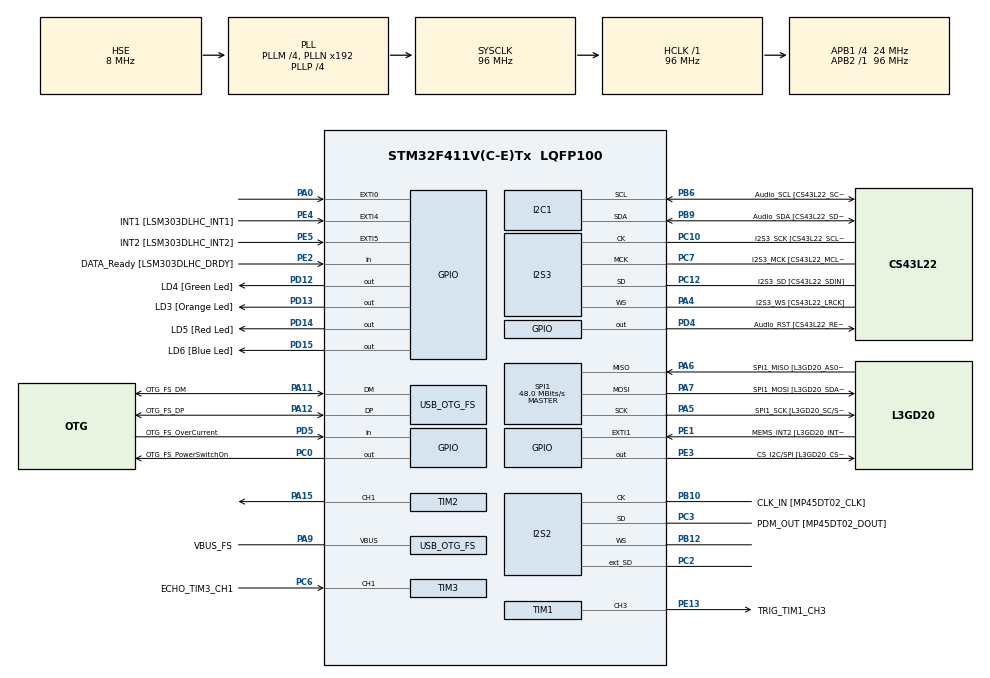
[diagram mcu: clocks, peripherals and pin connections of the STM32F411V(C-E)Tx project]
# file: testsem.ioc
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I2S2.AudioFreq=I2S_AUDIOFREQ_96K
I2S2.ErrorAudioFreq=0.15 %
I2S2.FullDuplexMode=I2S_FULLDUPLEXMODE_ENABLE
I2S2.Instance=SPI$Index
I2S2.RealAudioFreq=96.153 KHz
I2S2.VirtualMode=I2S_MODE_MASTER
I2S3.AudioFreq=I2S_AUDIOFREQ_96K
I2S3.ErrorAudioFreq=-6.99 %
I2S3.FullDuplexMode=I2S_FULLDUPLEXMODE_DISABLE
I2S3.Instance=SPI$Index
I2S3.RealAudioFreq=89.285 KHz
I2S3.VirtualMode=I2S_MODE_MASTER
Mcu.Family=STM32F4
Mcu.Name=STM32F411V(C-E)Tx
Mcu.Package=LQFP100
Mcu.UserConstants=FREQ_DIVIDER,15;TOO_FAR_TIMEOUT,38000
NVIC.OTG_FS_IRQn=true\:0\:0\:false\:false\:true\:true
NVIC.PriorityGroup=NVIC_PRIORITYGROUP_0
NVIC.TIM3_IRQn=true\:0\:0\:false\:false\:true\:true
PA0-WKUP.GPIO_ModeDefaultEXTI=GPIO_MODE_EVT_RISING
PA0-WKUP.Signal=GPXTI0
PA10.GPIO_Label=OTG_FS_ID
PA10.Signal=USB_OTG_FS_ID
PA11.GPIO_Label=OTG_FS_DM
PA11.Mode=Host_Only
PA11.Signal=USB_OTG_FS_DM
PA12.GPIO_Label=OTG_FS_DP
PA12.Mode=Host_Only
PA12.Signal=USB_OTG_FS_DP
PA13.GPIO_Label=SWDIO
PA13.Mode=Serial_Wire
PA13.Signal=SYS_JTMS-SWDIO
PA14.GPIO_Label=SWCLK
PA14.Mode=Serial_Wire
PA14.Signal=SYS_JTCK-SWCLK
PA15.Signal=S_TIM2_CH1_ETR
PA4.GPIO_Label=I2S3_WS [CS43L22_LRCK]
PA4.GPIO_Mode=GPIO_MODE_AF_PP
PA4.GPIO_PuPd=GPIO_NOPULL
PA4.GPIO_Speed=GPIO_SPEED_FREQ_LOW
PA4.Mode=Half_Duplex_Master
PA4.Signal=I2S3_WS
PA5.GPIO_Label=SPI1_SCK [L3GD20_SC/SPC]
PA5.Mode=Full_Duplex_Master
PA5.Signal=SPI1_SCK
PA6.GPIO_Label=SPI1_MISO [L3GD20_AS0/SDO]
PA6.Mode=Full_Duplex_Master
PA6.Signal=SPI1_MISO
PA7.GPIO_Label=SPI1_MOSI [L3GD20_SDA/SDI/SDO]
PA7.Mode=Full_Duplex_Master
PA7.Signal=SPI1_MOSI
PA9.GPIO_Label=VBUS_FS
PA9.Mode=Activate_VBUS
PA9.Signal=USB_OTG_FS_VBUS
PB10.GPIO_Label=CLK_IN [MP45DT02_CLK]
PB10.Mode=Full_Duplex_Master
PB10.Signal=I2S2_CK
PB12.Mode=Full_Duplex_Master
PB12.Signal=I2S2_WS
PB3.GPIO_Label=SWO
PB3.Signal=SYS_JTDO-SWO
PB6.GPIO_Label=Audio_SCL [CS43L22_SCL]
PB6.GPIO_Mode=GPIO_MODE_AF_OD
PB6.GPIO_PuPd=GPIO_NOPULL
PB6.GPIO_Speed=GPIO_SPEED_FREQ_LOW
PB6.Mode=I2C
PB6.Signal=I2C1_SCL
PB9.GPIO_Label=Audio_SDA [CS43L22_SDA]
PB9.GPIO_Mode=GPIO_MODE_AF_OD
PB9.GPIO_PuPd=GPIO_NOPULL
PB9.GPIO_Speed=GPIO_SPEED_FREQ_LOW
PB9.Mode=I2C
PB9.Signal=I2C1_SDA
PC0.GPIO_Label=OTG_FS_PowerSwitchOn
PC0.PinState=GPIO_PIN_SET
PC0.Signal=GPIO_Output
PC10.GPIO_Label=I2S3_SCK [CS43L22_SCLK]
PC10.GPIO_Mode=GPIO_MODE_AF_PP
PC10.GPIO_PuPd=GPIO_NOPULL
PC10.GPIO_Speed=GPIO_SPEED_FREQ_LOW
PC10.Mode=Half_Duplex_Master
PC10.Signal=I2S3_CK
PC12.GPIO_Label=I2S3_SD [CS43L22_SDIN]
PC12.GPIO_Mode=GPIO_MODE_AF_PP
PC12.GPIO_PuPd=GPIO_NOPULL
PC12.GPIO_Speed=GPIO_SPEED_FREQ_LOW
PC12.Mode=Half_Duplex_Master
PC12.Signal=I2S3_SD
PC14-OSC32_IN.GPIO_Label=PC14-OSC32_IN
PC14-OSC32_IN.Mode=LSE-External-Oscillator
PC14-OSC32_IN.Signal=RCC_OSC32_IN
PC15-OSC32_OUT.GPIO_Label=PC15-OSC32_OUT
PC15-OSC32_OUT.Mode=LSE-External-Oscillator
PC15-OSC32_OUT.Signal=RCC_OSC32_OUT
PC2.Mode=Full_Duplex_Master
PC2.Signal=I2S2_ext_SD
PC3.GPIO_Label=PDM_OUT [MP45DT02_DOUT]
PC3.Mode=Full_Duplex_Master
PC3.Signal=I2S2_SD
PC6.GPIO_Label=ECHO_TIM3_CH1
PC6.Signal=S_TIM3_CH1
PC7.GPIO_Label=I2S3_MCK [CS43L22_MCLK]
PC7.GPIO_Mode=GPIO_MODE_AF_PP
PC7.GPIO_PuPd=GPIO_NOPULL
PC7.GPIO_Speed=GPIO_SPEED_FREQ_LOW
PC7.Mode=Master_Clock_Activated
PC7.Signal=I2S3_MCK
PD12.GPIO_Label=LD4 [Green Led]
PD12.GPIO_PuPd=GPIO_NOPULL
PD12.GPIO_Speed=GPIO_SPEED_FREQ_LOW
PD12.Signal=GPIO_Output
PD13.GPIO_Label=LD3 [Orange Led]
PD13.GPIO_PuPd=GPIO_NOPULL
PD13.GPIO_Speed=GPIO_SPEED_FREQ_LOW
PD13.Signal=GPIO_Output
PD14.GPIO_Label=LD5 [Red Led]
PD14.GPIO_PuPd=GPIO_NOPULL
PD14.GPIO_Speed=GPIO_SPEED_FREQ_LOW
PD14.Signal=GPIO_Output
PD15.GPIO_Label=LD6 [Blue Led]
PD15.GPIO_PuPd=GPIO_NOPULL
PD15.GPIO_Speed=GPIO_SPEED_FREQ_LOW
PD15.Signal=GPIO_Output
PD4.GPIO_Label=Audio_RST [CS43L22_RESET]
PD4.Signal=GPIO_Output
PD5.GPIO_Label=OTG_FS_OverCurrent
PD5.Signal=GPIO_Input
PE1.GPIO_Label=MEMS_INT2 [L3GD20_INT2]
PE1.GPIO_ModeDefaultEXTI=GPIO_MODE_EVT_RISING
PE1.Signal=GPXTI1
PE13.GPIO_Label=TRIG_TIM1_CH3
PE13.Signal=S_TIM1_CH3
PE2.GPIO_Label=DATA_Ready [LSM303DLHC_DRDY]
PE2.Signal=GPIO_Input
PE3.GPIO_Label=CS_I2C/SPI [L3GD20_CS_I2C/SPI]
PE3.Signal=GPIO_Output
PE4.GPIO_Label=INT1 [LSM303DLHC_INT1]
PE4.GPIO_ModeDefaultEXTI=GPIO_MODE_EVT_RISING
PE4.Signal=GPXTI4
PE5.GPIO_Label=INT2 [LSM303DLHC_INT2]
PE5.GPIO_ModeDefaultEXTI=GPIO_MODE_EVT_RISING
PE5.Signal=GPXTI5
PH0\ -\ OSC_IN.GPIO_Label=PH0-OSC_IN
PH0\ -\ OSC_IN.Mode=HSE-External-Oscillator
PH0\ -\ OSC_IN.Signal=RCC_OSC_IN
PH1\ -\ OSC_OUT.GPIO_Label=PH1-OSC_OUT
PH1\ -\ OSC_OUT.Mode=HSE-External-Oscillator
PH1\ -\ OSC_OUT.Signal=RCC_OSC_OUT
ProjectManager.HeapSize=0x200
ProjectManager.StackSize=0x400
ProjectManager.TargetToolchain=SW4STM32
RCC.48MHZClocksFreq_Value=48000000
RCC.AHBFreq_Value=96000000
RCC.APB1CLKDivider=RCC_HCLK_DIV4
RCC.APB1Freq_Value=24000000
RCC.APB1TimFreq_Value=48000000
RCC.APB2Freq_Value=96000000
RCC.APB2TimFreq_Value=96000000
RCC.CortexFreq_Value=96000000
RCC.HCLKFreq_Value=96000000
RCC.HSE_VALUE=8000000
RCC.HSI_VALUE=16000000
RCC.PLLI2SM=5
RCC.PLLI2SN=200
RCC.PLLM=4
RCC.PLLP=RCC_PLLP_DIV4
RCC.PLLQ=8
RCC.SYSCLKFreq_VALUE=96000000
RCC.SYSCLKSource=RCC_SYSCLKSOURCE_PLLCLK
RCC.VCOOutputFreq_Value=384000000
SH.S_TIM1_CH3.0=TIM1_CH3,PWM Generation3 CH3
SH.S_TIM2_CH1_ETR.0=TIM2_CH1,PWM Generation1 CH1
SH.S_TIM3_CH1.0=TIM3_CH1,TriggerSource_TI1FP1
SH.S_TIM3_CH1.1=TIM3_CH1,Input_Capture1_from_TI1
SH.S_TIM3_CH1.2=TIM3_CH1,Input_Capture2_from_TI1
SPI1.BaudRatePrescaler=SPI_BAUDRATEPRESCALER_2
SPI1.CalculateBaudRate=48.0 MBits/s
SPI1.Direction=SPI_DIRECTION_2LINES
SPI1.Mode=SPI_MODE_MASTER
SPI1.VirtualType=VM_MASTER
TIM1.Channel-PWM\ Generation3\ CH3=TIM_CHANNEL_3
TIM1.OCMode_PWM-PWM\ Generation3\ CH3=TIM_OCMODE_PWM2
TIM1.Period=15
TIM1.Prescaler=FREQ_DIVIDER
TIM1.Pulse-PWM\ Generation3\ CH3=2
TIM2.Channel-PWM\ Generation1\ CH1=TIM_CHANNEL_1
TIM2.Period=TOO_FAR_TIMEOUT
TIM3.Channel-Input_Capture1_from_TI1=TIM_CHANNEL_1
TIM3.Channel-Input_Capture2_from_TI1=TIM_CHANNEL_2
TIM3.ICFilter_CH1=15
TIM3.ICPolarity_CH2=TIM_INPUTCHANNELPOLARITY_FALLING
TIM3.Period=65535
TIM3.Prescaler=FREQ_DIVIDER
USB_HOST.BSP.number=1
USB_HOST.USBH_HandleTypeDef=hUsbHostFS
USB_HOST.VirtualModeFS=Cdc
USB_HOST0.BSP.STBoard=false
USB_HOST0.BSP.api=Unknown
USB_HOST0.BSP.i2caddr=0
USB_HOST0.BSP.i2creg=0
USB_HOST0.BSP.instance=PC0
USB_HOST0.BSP.ip=GPIO
USB_HOST0.BSP.mode=Output
USB_HOST0.BSP.name=Drive_VBUS_FS
USB_HOST0.BSP.solution=PC0
USB_OTG_FS.VirtualMode=Host_Only
USB_OTG_FS.phy_itface=HCD_PHY_EMBEDDED
VP_TIM1_VS_ClockSourceINT.Mode=Internal
VP_TIM1_VS_OPM.Mode=OPM_bit
VP_TIM2_VS_ClockSourceINT.Mode=Internal
VP_TIM3_VS_ClockSourceINT.Mode=Internal
VP_TIM3_VS_ControllerModeReset.Mode=Reset Mode
VP_USB_HOST_VS_USB_HOST_CDC_FS.Mode=CDC_FS
board=32F411EDISCOVERY

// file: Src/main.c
/**
  ******************************************************************************
  * @file           : main.c
  * @brief          : Main program body
  ******************************************************************************
  * This notice applies to any and all portions of this file
  * that are not between comment pairs USER CODE BEGIN and
  * USER CODE END. Other portions of this file, whether
  * inserted by the user or by software development tools
  * are owned by their respective copyright owners.
  *
  * Copyright (c) 2018 STMicroelectronics International N.V.
  * All rights reserved.
  *
  * Redistribution and use in source and binary forms, with or without
  * modification, are permitted, provided that the following conditions are met:
  *
  * 1. Redistribution of source code must retain the above copyright notice,
  *    this list of conditions and the following disclaimer.
  * 2. Redistributions in binary form must reproduce the above copyright notice,
  *    this list of conditions and the following disclaimer in the documentation
  *    and/or other materials provided with the distribution.
  * 3. Neither the name of STMicroelectronics nor the names of other
  *    contributors to this software may be used to endorse or promote products
  *    derived from this software without specific written permission.
  * 4. This software, including modifications and/or derivative works of this
  *    software, must execute solely and exclusively on microcontroller or
  *    microprocessor devices manufactured by or for STMicroelectronics.
  * 5. Redistribution and use of this software other than as permitted under
  *    this license is void and will automatically terminate your rights under
  *    this license.
  *
  * THIS SOFTWARE IS PROVIDED BY STMICROELECTRONICS AND CONTRIBUTORS "AS IS"
  * AND ANY EXPRESS, IMPLIED OR STATUTORY WARRANTIES, INCLUDING, BUT NOT
  * LIMITED TO, THE IMPLIED WARRANTIES OF MERCHANTABILITY, FITNESS FOR A
  * PARTICULAR PURPOSE AND NON-INFRINGEMENT OF THIRD PARTY INTELLECTUAL PROPERTY
  * RIGHTS ARE DISCLAIMED TO THE FULLEST EXTENT PERMITTED BY LAW. IN NO EVENT
  * SHALL STMICROELECTRONICS OR CONTRIBUTORS BE LIABLE FOR ANY DIRECT, INDIRECT,
  * INCIDENTAL, SPECIAL, EXEMPLARY, OR CONSEQUENTIAL DAMAGES (INCLUDING, BUT NOT
  * LIMITED TO, PROCUREMENT OF SUBSTITUTE GOODS OR SERVICES; LOSS OF USE, DATA,
  * OR PROFITS; OR BUSINESS INTERRUPTION) HOWEVER CAUSED AND ON ANY THEORY OF
  * LIABILITY, WHETHER IN CONTRACT, STRICT LIABILITY, OR TORT (INCLUDING
  * NEGLIGENCE OR OTHERWISE) ARISING IN ANY WAY OUT OF THE USE OF THIS SOFTWARE,
  * EVEN IF ADVISED OF THE POSSIBILITY OF SUCH DAMAGE.
  *
  ******************************************************************************
  */
#include "main.h"
#include "stm32f4xx_hal.h"
#include "i2c.h"
#include "i2s.h"
#include "spi.h"
#include "tim.h"
#include "usb_host.h"
#include "gpio.h"

/* USER CODE BEGIN PV */
/* Private variables ---------------------------------------------------------*/

/* USER CODE END PV */

void SystemClock_Config(void);
void MX_USB_HOST_Process(void);

/* USER CODE BEGIN PFP */
/* Private function prototypes -----------------------------------------------*/

/* USER CODE END PFP */

/* USER CODE BEGIN 0 */
extern void initialise_monitor_handles(void);
typedef enum state_t{IDLE_S, TRIGGERING_S, WAITING_FOR_ECHO_START_S, WAITING_FOR_ECHO_STOP_S,
 TRIG_NOT_WENT_LOW_S, ECHO_TIMEOUT_S, ECHO_NOT_WENT_LOW_S, READING_DATA_S, ERROR_S} state_t;

volatile state_t state = IDLE_S;
volatile uint32_t measured_time;
inline void set_LED_lum(uint16_t arg)
{
 // TIM2->CCR1 = TIM2->ARR - arg;
 int lm = -6*arg + TIM2->ARR;
 __HAL_TIM_SET_COMPARE(&htim2, TIM_CHANNEL_1, (lm>=0 ? lm : 0) );
}
void on_error(const char* text, int hang)
{
 HAL_GPIO_WritePin(GPIOC, GPIO_PIN_8, GPIO_PIN_SET);
 puts(text);
 if(hang)
 {
  while(1);
 }
 else {
  // resetTimer();
  state = IDLE_S;
 }
}
void HAL_TIM_PeriodElapsedCallback(TIM_HandleTypeDef *htim)
{
 if( htim->Instance == TIM3 )
 {
  if(state == WAITING_FOR_ECHO_START_S)
  {
   state = ECHO_TIMEOUT_S;
  }
  if(state == WAITING_FOR_ECHO_STOP_S)
  {
   state = ECHO_NOT_WENT_LOW_S;
  }
 }
}
void HAL_TIM_IC_CaptureCallback(TIM_HandleTypeDef *htim)
{
 if( htim->Instance == TIM3  )
 {
  if( htim->Channel == HAL_TIM_ACTIVE_CHANNEL_1 )
  {
   __HAL_TIM_CLEAR_FLAG(htim, TIM_FLAG_UPDATE);
   if(state == WAITING_FOR_ECHO_START_S)
    state = WAITING_FOR_ECHO_STOP_S;
  }
  if( htim->Channel == HAL_TIM_ACTIVE_CHANNEL_2 )
  {
   if( state == WAITING_FOR_ECHO_STOP_S )
   {
    measured_time = HAL_TIM_ReadCapturedValue( htim, TIM_CHANNEL_2);
    //measured_time = TIM3->CCR2;
    state = READING_DATA_S;
   }
  }
 }
}
/* USER CODE END 0 */

int main(void)
{
  /* USER CODE BEGIN 1 */
	initialise_monitor_handles();
  /* USER CODE END 1 */

  /* MCU Configuration----------------------------------------------------------*/

  /* Reset of all peripherals, Initializes the Flash interface and the Systick. */
  HAL_Init();

  /* Configure the system clock */
  SystemClock_Config();

  /* Initialize all configured peripherals */
  MX_GPIO_Init();
  MX_I2C1_Init();
  MX_I2S2_Init();
  MX_I2S3_Init();
  MX_SPI1_Init();
  MX_USB_HOST_Init();
  MX_TIM1_Init();
  MX_TIM2_Init();
  MX_TIM3_Init();
  /* USER CODE BEGIN 2 */
  if ( HAL_GPIO_ReadPin(ECHO_TIM3_CH1_GPIO_Port, GPIO_PIN_6) == GPIO_PIN_SET ) {
    on_error("Error -- Echo line is high, though no impulse was given.",
      1);
   }
   puts("Starting");
  printf("Hello world\n");

  HAL_TIM_IC_Start_IT(&htim3, TIM_CHANNEL_1);
   HAL_TIM_IC_Start_IT(&htim3, TIM_CHANNEL_2);
   __HAL_TIM_ENABLE_IT(&htim3, TIM_IT_UPDATE);
   HAL_TIM_PWM_Start(&htim2, TIM_CHANNEL_1);

  /* USER CODE END 2 */

  /* Infinite loop */
  /* USER CODE BEGIN WHILE */

  while (1)
  {
	  HAL_TIM_PWM_Start(&htim1, TIM_CHANNEL_3); // Біт OPM встановлено, але запускаємо як PWM
	  HAL_NVIC_DisableIRQ(TIM3_IRQn);
	    state = WAITING_FOR_ECHO_START_S;
	    HAL_NVIC_EnableIRQ(TIM3_IRQn);

	    while(TIM1->CR1 & TIM_CR1_CEN ); // Звичайно, щоб напряму не звертатися до
	         // регістрів, тут можна звертатися до прапорця,
	         // який виставлятиметься в перериванні,
	         // але навіщо так складно і неефективно? :-)
	    if( HAL_GPIO_ReadPin(TRIG_TIM1_CH3_GPIO_Port, GPIO_PIN_13) == GPIO_PIN_SET )
	     {
	      puts("Trigger does not went low!");
	      HAL_NVIC_DisableIRQ(TIM3_IRQn);
	      state = IDLE_S;
	      HAL_NVIC_EnableIRQ(TIM3_IRQn);
	      continue;
	     }
	    while(state != READING_DATA_S &&
	         state != ECHO_TIMEOUT_S &&
	         state != ECHO_NOT_WENT_LOW_S);
	    printf("Hello world\n");
	    HAL_NVIC_DisableIRQ(TIM3_IRQn);

	      state_t state_copy = state;
	      state = IDLE_S;
	      HAL_NVIC_EnableIRQ(TIM3_IRQn);
	      if( HAL_GPIO_ReadPin(ECHO_TIM3_CH1_GPIO_Port, GPIO_PIN_6) == GPIO_PIN_SET )
	       {
	        puts("Echo line does not went low!");
	        if( state_copy == ECHO_NOT_WENT_LOW_S)
	         puts("\tConfirmed from interrupt");
	       }
	      if( state_copy == ECHO_TIMEOUT_S )
	        {
	         printf("Echo timeout!\n");
	         set_LED_lum(TOO_FAR_TIMEOUT);
	        }
	        else
	        {
	         set_LED_lum(measured_time);
	         if( measured_time>TOO_FAR_TIMEOUT )
	         {
	          printf("Tooo far -- no echo received, wating for %lu mks\n", measured_time);
	         }else
	         {
	          uint32_t distance_mm = (measured_time*10)/58;
	          printf("Distance: %u mm, measured time: %lu us\n", distance_mm , measured_time);
	         }
	        }
	        HAL_Delay(50);
	       }
  /* USER CODE END WHILE */
    MX_USB_HOST_Process();

  }

void SystemClock_Config(void)
{

  RCC_OscInitTypeDef RCC_OscInitStruct;
  RCC_ClkInitTypeDef RCC_ClkInitStruct;
  RCC_PeriphCLKInitTypeDef PeriphClkInitStruct;

    /**Configure the main internal regulator output voltage
    */
  __HAL_RCC_PWR_CLK_ENABLE();

  __HAL_PWR_VOLTAGESCALING_CONFIG(PWR_REGULATOR_VOLTAGE_SCALE1);

    /**Initializes the CPU, AHB and APB busses clocks
    */
  RCC_OscInitStruct.OscillatorType = RCC_OSCILLATORTYPE_HSE;
  RCC_OscInitStruct.HSEState = RCC_HSE_ON;
  RCC_OscInitStruct.PLL.PLLState = RCC_PLL_ON;
  RCC_OscInitStruct.PLL.PLLSource = RCC_PLLSOURCE_HSE;
  RCC_OscInitStruct.PLL.PLLM = 4;
  RCC_OscInitStruct.PLL.PLLN = 192;
  RCC_OscInitStruct.PLL.PLLP = RCC_PLLP_DIV4;
  RCC_OscInitStruct.PLL.PLLQ = 8;
  if (HAL_RCC_OscConfig(&RCC_OscInitStruct) != HAL_OK)
  {
    _Error_Handler(__FILE__, __LINE__);
  }

    /**Initializes the CPU, AHB and APB busses clocks
    */
  RCC_ClkInitStruct.ClockType = RCC_CLOCKTYPE_HCLK|RCC_CLOCKTYPE_SYSCLK
                              |RCC_CLOCKTYPE_PCLK1|RCC_CLOCKTYPE_PCLK2;
  RCC_ClkInitStruct.SYSCLKSource = RCC_SYSCLKSOURCE_PLLCLK;
  RCC_ClkInitStruct.AHBCLKDivider = RCC_SYSCLK_DIV1;
  RCC_ClkInitStruct.APB1CLKDivider = RCC_HCLK_DIV4;
  RCC_ClkInitStruct.APB2CLKDivider = RCC_HCLK_DIV1;

  if (HAL_RCC_ClockConfig(&RCC_ClkInitStruct, FLASH_LATENCY_3) != HAL_OK)
  {
    _Error_Handler(__FILE__, __LINE__);
  }

  PeriphClkInitStruct.PeriphClockSelection = RCC_PERIPHCLK_I2S;
  PeriphClkInitStruct.PLLI2S.PLLI2SN = 200;
  PeriphClkInitStruct.PLLI2S.PLLI2SM = 5;
  PeriphClkInitStruct.PLLI2S.PLLI2SR = 2;
  if (HAL_RCCEx_PeriphCLKConfig(&PeriphClkInitStruct) != HAL_OK)
  {
    _Error_Handler(__FILE__, __LINE__);
  }

    /**Configure the Systick interrupt time
    */
  HAL_SYSTICK_Config(HAL_RCC_GetHCLKFreq()/1000);

    /**Configure the Systick
    */
  HAL_SYSTICK_CLKSourceConfig(SYSTICK_CLKSOURCE_HCLK);

  /* SysTick_IRQn interrupt configuration */
  HAL_NVIC_SetPriority(SysTick_IRQn, 0, 0);
}

void _Error_Handler(char *file, int line)
{
  while(1)
  {
  }
}

/************************ (C) COPYRIGHT STMicroelectronics *****END OF FILE****/
